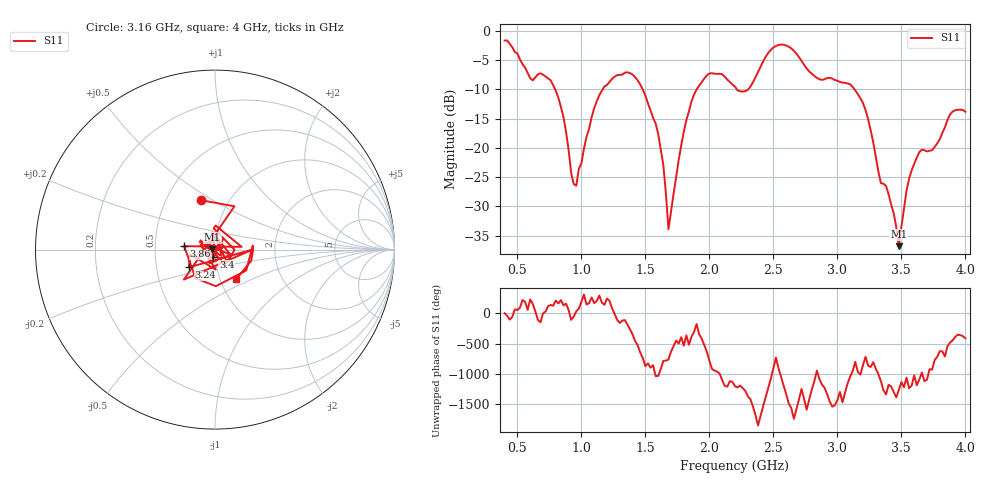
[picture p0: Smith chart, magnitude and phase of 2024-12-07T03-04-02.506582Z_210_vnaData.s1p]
!Created with skrf (http://scikit-rf.org).
# Hz S RI R 50.0
!freq ReS11 ImS11
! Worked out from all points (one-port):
!   181 points, 400 MHz to 4 GHz, reference 50 ohm
!   lowest |S11| = -36.8 dB at 3.48 GHz (marker M1), VSWR 1.03, Z = 48.6 + j0.238 ohm
!   |S11| at or under -10 dB: 794.7 MHz to 1.166 GHz (371.8 MHz wide, 37.9 % of centre); 1.478 GHz to 1.901 GHz (422.1 MHz wide, 25 % of centre); 3.133 GHz to end of sweep (the widest 3 of 4)
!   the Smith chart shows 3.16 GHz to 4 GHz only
!   S11 on the Smith chart (normalised r, x): 3.16 GHz: 0.74, +0.44; 3.24 GHz: 0.73, -0.15; 3.4 GHz: 0.98, -0.08; 3.86 GHz: 0.71, +0.03; 4 GHz: 1.19, -0.41
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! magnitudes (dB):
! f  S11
! 400 MHz  -1.7
! 620 MHz  -8.5
! 760 MHz  -8.5
! 860 MHz  -14.8
! 920 MHz  -24.3
! 960 MHz  -26.5
! 1.12 GHz  -12.0
! 1.3 GHz  -7.5
! 1.44 GHz  -8.5
! 1.58 GHz  -15.8
! 1.64 GHz  -22.9
! 1.68 GHz  -33.9
! 1.76 GHz  -22.1
! 1.86 GHz  -12.1
! 1.96 GHz  -8.2
! 2.2 GHz  -9.6
! 2.3 GHz  -10.1
! 2.5 GHz  -2.9
! 2.66 GHz  -3.4
! 3.1 GHz  -9.2
! 3.16 GHz  -10.9
! 3.24 GHz  -15.1
! 3.34 GHz  -26.0
! 3.4 GHz  -27.9
! 3.48 GHz  -36.8
! 3.56 GHz  -25.3
! 3.86 GHz  -15.2
! 4 GHz  -13.8
